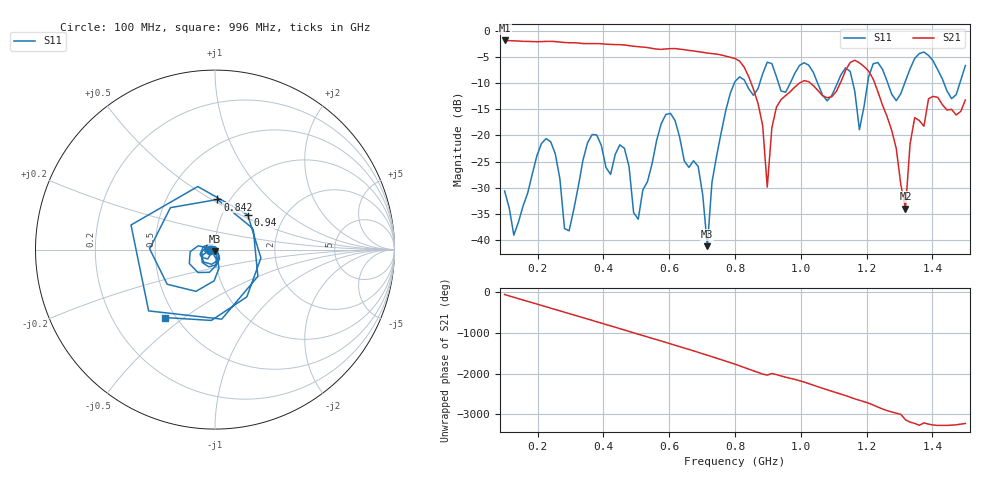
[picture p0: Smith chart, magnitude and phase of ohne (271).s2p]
! NanoVNA-App
! Date: 2025-09-25 14:22:54
! Start: 100MHz Stop: 1,5GHz Points: 101
! S-Parameter data: F S11 S21 S12 S22
# Hz S RI R 50
!  Frequency  S11_Real  S11_Imag  S21_Real  S21_Imag  S12_Real  S12_Imag  S22_Real  S22_Imag
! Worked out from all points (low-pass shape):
!   101 points, 100 MHz to 1.5 GHz, reference 50 ohm
!   highest |S21| = -1.79 dB at 100 MHz (marker M1); lowest = -34.0 dB at 1.318 GHz (marker M2)
!   |S21| within 3 dB of the highest: start of sweep to 771.7 MHz
!   lowest |S11| = -41.2 dB at 716 MHz (marker M3), VSWR 1.02, Z = 49.8 - j0.835 ohm
!   |S11| at or under -10 dB: start of sweep to 797.8 MHz; 833.3 MHz to 875 MHz (41.7 MHz wide, 4.88 % of centre); 1.051 GHz to 1.111 GHz (59.59 MHz wide, 5.51 % of centre) (the widest 3 of 7)
!   S12 and S22 are empty: the file has one direction only
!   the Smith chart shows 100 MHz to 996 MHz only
!   S11 on the Smith chart (normalised r, x): 100 MHz: 0.94, -0.01; 842 MHz: 0.88, +0.53; 940 MHz: 1.32, +0.55; 996 MHz: 0.44, -0.43
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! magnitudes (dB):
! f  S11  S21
! 100 MHz  -30.6  -1.8
! 128 MHz  -39.1  -1.9
! 226 MHz  -20.6  -2.0
! 296 MHz  -38.3  -2.2
! 338 MHz  -24.8  -2.4
! 464 MHz  -22.5  -2.7
! 506 MHz  -36.0  -3.0
! 576 MHz  -17.7  -3.5
! 688 MHz  -25.9  -3.9
! 716 MHz  -41.2  -4.2
! 800 MHz  -9.7  -5.2
! 842 MHz  -11.1  -8.8
! 898 MHz  -6.0  -29.9
! 940 MHz  -11.5  -13.1
! 996 MHz  -6.6  -9.9
! 1.038 GHz  -7.9  -10.4
! 1.164 GHz  -11.6  -5.6
! 1.178 GHz  -18.9  -6.1
! 1.276 GHz  -12.1  -19.0
! 1.318 GHz  -9.5  -34.0
! 1.346 GHz  -5.2  -16.6
! 1.5 GHz  -6.6  -13.2
